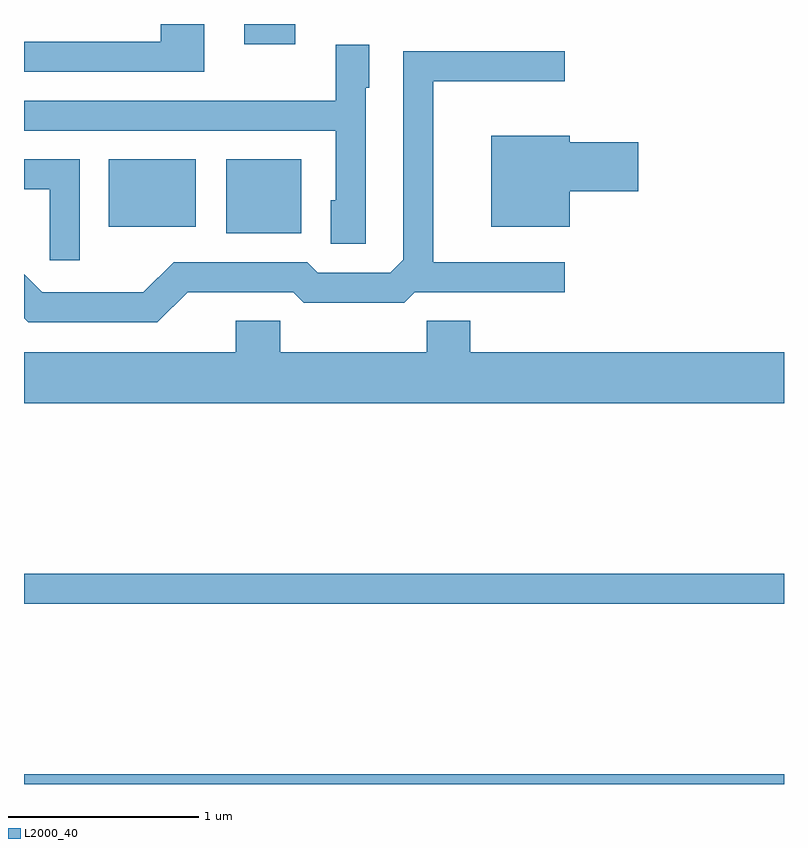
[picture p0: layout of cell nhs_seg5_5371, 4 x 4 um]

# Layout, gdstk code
import gdstk
lib = gdstk.Library(unit=1e-6, precision=1e-09)
def R(c, l, rs):  # rectangles x0, y0, x1, y1
    for r in rs: c.add(gdstk.rectangle(r[:2], r[2:], *l))
def P(c, l, *ps):  # polygons
    for p in ps: c.add(gdstk.Polygon(p, *l))
L2000_40 = (2000, 40)

nhs_seg5_5371 = lib.new_cell('nhs_seg5_5371')
R(nhs_seg5_5371, L2000_40, [(343.611,1508.072,347.611,1508.124), (343.611,1509.021,347.611,1509.179), (344.676,1510.971,345.069,1511.359), (344.056,1511.006,344.514,1511.359), (344.771,1511.966,345.039,1512.072)])
P(nhs_seg5_5371, L2000_40, [(344.559,1512.072),(344.331,1512.072),(344.331,1511.979),(343.611,1511.979),(343.611,1511.821),(344.559,1511.821)],
  [(345.409,1511.736),(345.429,1511.736),(345.429,1511.964),(345.251,1511.964),(345.251,1511.669),(343.611,1511.669),(343.611,1511.511),(345.251,1511.511),(345.251,1511.144),(345.226,1511.144),(345.226,1510.916),(345.409,1510.916)],
  [(344.472,1510.661),(345.029,1510.661),(345.084,1510.606),(345.612,1510.606),(345.667,1510.661),(346.458,1510.661),(346.458,1510.819),(345.764,1510.819),(345.764,1511.771),(346.458,1511.771),(346.458,1511.929),(345.606,1511.929),(345.606,1510.832),(345.539,1510.764),(345.157,1510.764),(345.102,1510.819),(344.399,1510.819),(344.239,1510.659),(343.707,1510.659),(343.611,1510.755),(343.611,1510.524),(343.634,1510.501),(344.312,1510.501)],
  [(346.484,1511.191),(346.844,1511.191),(346.844,1511.449),(346.484,1511.449),(346.484,1511.484),(346.071,1511.484),(346.071,1511.006),(346.484,1511.006)],
  [(343.904,1511.359),(343.611,1511.359),(343.611,1511.201),(343.746,1511.201),(343.746,1510.828),(343.904,1510.828)],
  [(347.611,1510.344),(345.959,1510.344),(345.959,1510.509),(345.731,1510.509),(345.731,1510.344),(344.959,1510.344),(344.959,1510.509),(344.726,1510.509),(344.726,1510.344),(343.611,1510.344),(343.611,1510.076),(347.611,1510.076)])

lib.write_gds('nhs_seg5_5371.gds')
